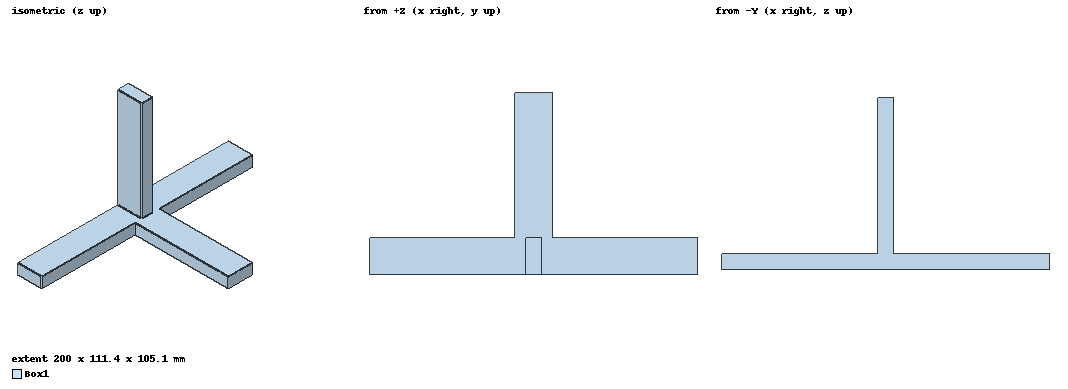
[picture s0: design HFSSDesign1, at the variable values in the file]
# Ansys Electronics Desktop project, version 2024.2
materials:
  vacuum: permittivity=1

design HFSSDesign1 (HFSS, HFSS Terminal Network, model units mm)
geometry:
  Box1 [vacuum] = box(corner=(-11.43mm, 0mm, -5.08mm), size=(22.86mm, 100mm, 10.16mm))
  Box1_1 = Box1.duplicate_around_axis(axis=Z, angle=90deg, total=2)
  Box1_2 = Box1.duplicate_around_axis(axis=Z, angle=-90deg, total=2)
  Box1_2_1 = Box1_2.duplicate_around_axis(axis=Y, angle=-90deg, total=2)
  Box1.unite(Box1_1, Box1_2, Box1_2_1)
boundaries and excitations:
  PerfE1: Perfect E Faces=Box1.face(+z, at (0, -11.43, 47.46), at (5.08, 0, 52.54), +x, -z, at (-5.08, 0, 52.54))
  1: Wave Port Faces=Box1.face(at (100, 0, 0)) WavePortType=Modal NumModes=1 Modes{Mode1{IntLine{(100, 0, -5.08) -> (100, 0, 5.08)} CharImp=Zpi}}
  2: Wave Port Faces=Box1.face(at (-100, 0, 0)) WavePortType=Modal NumModes=1 Modes{Mode1{IntLine{(-100, 0, -5.08) -> (-100, 0, 5.08)} CharImp=Zpi}}
  3: Wave Port Faces=Box1.face(at (0, 0, 100)) WavePortType=Modal NumModes=1 Modes{Mode1{IntLine{(5.08, 0, 100) -> (-5.08, 0, 100)} CharImp=Zpi}}
  4: Wave Port Faces=Box1.face(+y) WavePortType=Modal NumModes=1 Modes{Mode1{IntLine{(0, 100, -5.08) -> (0, 100, 5.08)} CharImp=Zpi}}
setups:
  Setup1: HfssDriven Frequency=10GHz MaxDeltaS=0.02 MaximumPasses=6 MinimumPasses=1 MinimumConvergedPasses=1 PercentRefinement=30 BasisOrder=1 PortAccuracy=2 DrivenSolverType="Direct Solver"
    sweep Sweep: 6GHz to 15GHz step 0.1GHz; Type=Interpolating InterpTolerance=0.5 InterpMaxSolns=250 PassivityErrorTolerance=0.0001
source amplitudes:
  1:1, 2:1, 4:1: 0W 0deg
  3:1: 1W 0deg
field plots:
  Vector_E1: E Field over Box1.face(+z, at (0, -11.43, 47.46), at (5.08, 0, 52.54), at (-5.08, 0, 52.54), -z) on Setup1 : LastAdaptive at Freq=10GHz Phase=0deg
  Mag_E1: E Field over Box1.face(at (-5.08, 0, 52.54), at (0, 11.43, 52.54), at (0, -11.43, 47.46), +z, -z) on Setup1 : LastAdaptive at Freq=10GHz Phase=0deg
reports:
  S Parameter Plot 1: dB(S(1,1)), dB(S(2,1)), dB(S(1,2)), dB(S(2,2)) vs Freq on Setup1 : Sweep
